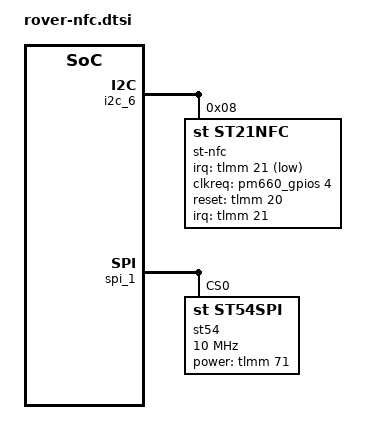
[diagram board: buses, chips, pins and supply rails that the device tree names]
&i2c_6 {
	status = "ok";
	st-nfc@08 {
		compatible ="st,st21nfc";
		reg = <0x08>;

		pinctrl-names = "nfc_active", "nfc_suspend";
		pinctrl-0 = <&gpio_nfc_rst_active &gpio_nfc_irq_active &nfc_clk_default>;
		pinctrl-1 = <&gpio_nfc_rst_sleep &gpio_nfc_irq_sleep>;

		interrupt-parent = <&tlmm>;
		interrupts = <21 0>;
		st,irq_gpio = <&tlmm 21 0x2001>;
		st,clkreq_gpio = <&pm660_gpios 4 0x00>;
		st,reset_gpio = <&tlmm 20 0x00>;
		/* if use BB_CLK3, need config the clk-src as BBCLK2! */
		qcom,clk-src = "BBCLK2";
		clocks = <&clock_gcc clk_bb_clk2_pin>;
		clock-names = "ref_clk";
		status ="ok";
	};
};

&spi_1 {
	status = "ok";
	st54@0 {
		compatible = "st,st54spi";
		reg = <0>;
		spi-max-frequency = <10000000>;
		gpio-power = <&tlmm 71 0x0>;
		status = "ok";
	};
};

/* Same as config in sdm429-spyro-qrd-evt.dtsi
&pm660_gpios {
	nfc_clk {
		nfc_clk_default: nfc_clk_default {
			pins = "gpio4";
			function = "normal";
			input-enable;
			power-source = <1>;
		};
	};
};
*/

/* Disable NFC config in sdm429-spyro-qrd-evt.dtsi */
&i2c_5 { /* BLSP2 QUP1 (NFC) */
	status = "disabled";
};
